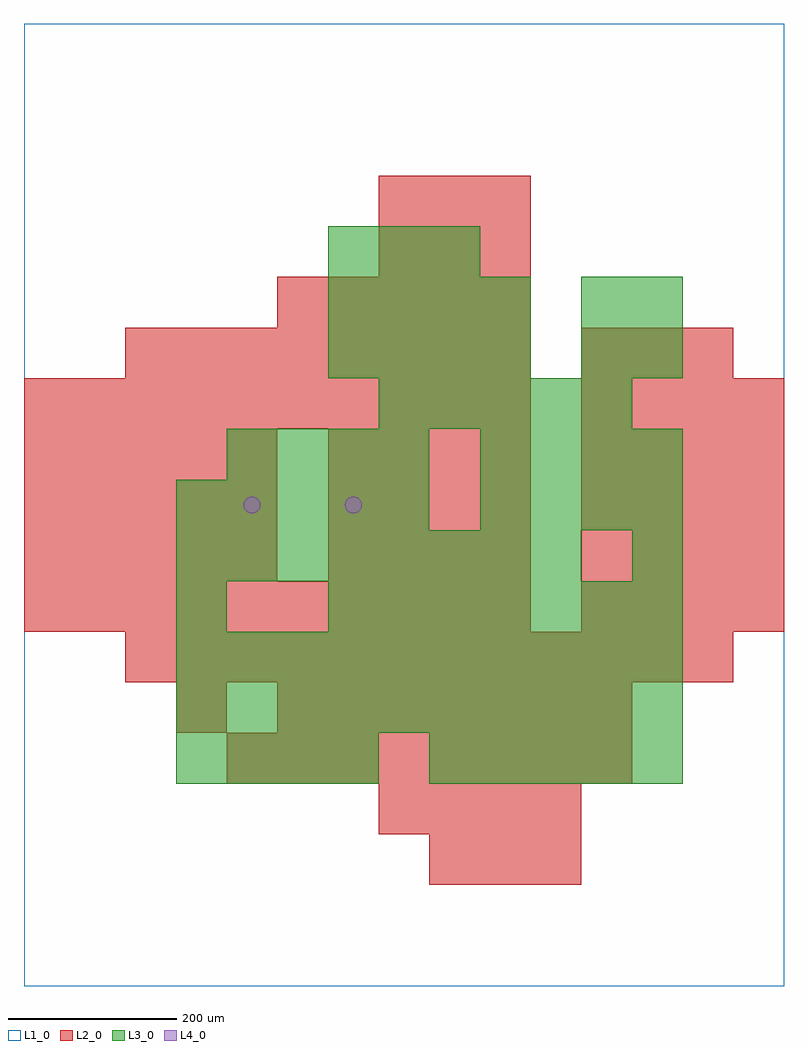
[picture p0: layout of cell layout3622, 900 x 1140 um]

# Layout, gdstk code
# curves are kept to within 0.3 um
import gdstk
lib = gdstk.Library(unit=1e-6, precision=1e-09)
def R(c, l, rs):  # rectangles x0, y0, x1, y1
    for r in rs: c.add(gdstk.rectangle(r[:2], r[2:], *l))
def A(c, l, x, y, w, h, nx, ny, dx, dy):  # array of equal rectangles
    R(c, l, [(x+i*dx, y+j*dy, x+i*dx+w, y+j*dy+h) for i in range(nx) for j in range(ny)])
def P(c, l, *ps):  # polygons
    for p in ps: c.add(gdstk.Polygon(p, *l))
L1_0 = (1, 0)
L2_0 = (2, 0)
L3_0 = (3, 0)
L4_0 = (4, 0)

layout3622 = lib.new_cell('layout3622')
R(layout3622, L1_0, [(0,0,900,1140)])
A(layout3622, L2_0, 480, 120, 60, 60, 3, 1, 60, 0)
A(layout3622, L2_0, 420, 180, 60, 60, 4, 1, 60, 0)
A(layout3622, L2_0, 240, 240, 60, 60, 8, 1, 60, 0)
A(layout3622, L2_0, 300, 300, 60, 60, 7, 1, 60, 0)
A(layout3622, L2_0, 120, 360, 60, 60, 12, 1, 60, 0)
A(layout3622, L2_0, 0, 420, 60, 60, 10, 2, 60, 240)
A(layout3622, L2_0, 660, 420, 60, 60, 4, 5, 60, 60)
A(layout3622, L2_0, 0, 480, 60, 60, 5, 3, 60, 60)
A(layout3622, L2_0, 360, 480, 60, 60, 4, 3, 60, 60)
A(layout3622, L2_0, 120, 720, 60, 60, 8, 1, 60, 0)
A(layout3622, L2_0, 660, 720, 60, 60, 3, 1, 60, 0)
A(layout3622, L2_0, 300, 780, 60, 60, 5, 1, 60, 0)
A(layout3622, L2_0, 420, 840, 60, 60, 3, 2, 60, 60)
R(layout3622, L2_0, [(180,300,240,360)])
A(layout3622, L3_0, 180, 240, 60, 60, 4, 1, 60, 0)
A(layout3622, L3_0, 480, 240, 60, 60, 5, 1, 60, 0)
A(layout3622, L3_0, 180, 300, 60, 60, 10, 2, 60, 60)
A(layout3622, L3_0, 360, 420, 60, 60, 7, 1, 60, 0)
A(layout3622, L3_0, 180, 480, 60, 60, 8, 1, 60, 0)
A(layout3622, L3_0, 180, 540, 60, 60, 5, 1, 60, 0)
A(layout3622, L3_0, 540, 540, 60, 60, 4, 2, 60, 60)
A(layout3622, L3_0, 240, 600, 60, 60, 4, 1, 60, 0)
A(layout3622, L3_0, 420, 660, 60, 60, 5, 1, 60, 0)
A(layout3622, L3_0, 360, 720, 60, 60, 4, 2, 60, 60)
A(layout3622, L3_0, 360, 840, 60, 60, 3, 1, 60, 0)
R(layout3622, L3_0, [(180,420,240,480), (720,480,780,540), (660,720,720,780), (720,720,780,780), (660,780,720,840), (720,780,780,840)])
P(layout3622, L4_0, [(280,570),(279.239,573.827),(277.071,577.071),(273.827,579.239),(270,580),(266.173,579.239),(262.929,577.071),(260.761,573.827),(260,570),(260.761,566.173),(262.929,562.929),(266.173,560.761),(270,560),(273.827,560.761),(277.071,562.929),(279.239,566.173)],
  [(400,570),(399.239,573.827),(397.071,577.071),(393.827,579.239),(390,580),(386.173,579.239),(382.929,577.071),(380.761,573.827),(380,570),(380.761,566.173),(382.929,562.929),(386.173,560.761),(390,560),(393.827,560.761),(397.071,562.929),(399.239,566.173)])

lib.write_gds('layout3622.gds')
